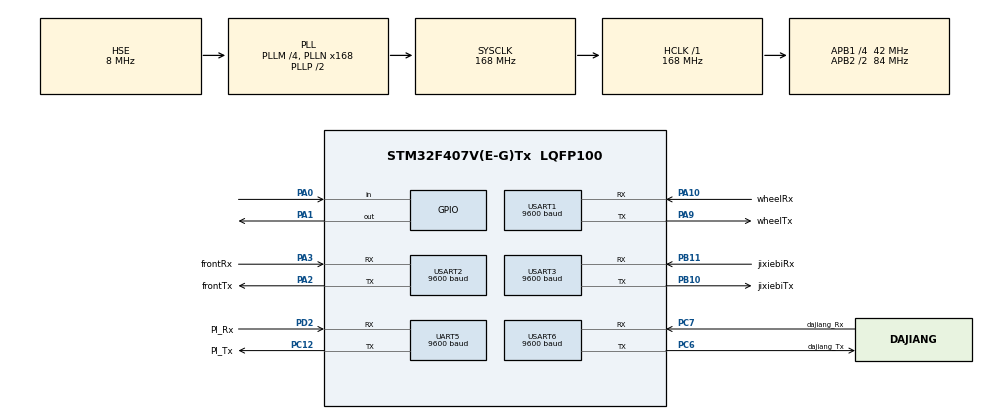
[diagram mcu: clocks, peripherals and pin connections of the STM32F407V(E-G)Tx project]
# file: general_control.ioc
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Dma.Request0=USART1_TX
Dma.Request1=USART2_TX
Dma.Request2=USART1_RX
Dma.Request3=USART2_RX
Dma.Request4=USART3_RX
Dma.Request5=USART3_TX
Dma.Request6=USART6_RX
Dma.Request7=USART6_TX
Dma.USART1_RX.2.Direction=DMA_PERIPH_TO_MEMORY
Dma.USART1_RX.2.FIFOMode=DMA_FIFOMODE_DISABLE
Dma.USART1_RX.2.Instance=DMA2_Stream2
Dma.USART1_RX.2.MemDataAlignment=DMA_MDATAALIGN_BYTE
Dma.USART1_RX.2.MemInc=DMA_MINC_ENABLE
Dma.USART1_RX.2.Mode=DMA_NORMAL
Dma.USART1_RX.2.PeriphDataAlignment=DMA_PDATAALIGN_BYTE
Dma.USART1_RX.2.PeriphInc=DMA_PINC_DISABLE
Dma.USART1_RX.2.Priority=DMA_PRIORITY_LOW
Dma.USART1_TX.0.Direction=DMA_MEMORY_TO_PERIPH
Dma.USART1_TX.0.FIFOMode=DMA_FIFOMODE_DISABLE
Dma.USART1_TX.0.Instance=DMA2_Stream7
Dma.USART1_TX.0.MemDataAlignment=DMA_MDATAALIGN_BYTE
Dma.USART1_TX.0.MemInc=DMA_MINC_ENABLE
Dma.USART1_TX.0.Mode=DMA_NORMAL
Dma.USART1_TX.0.PeriphDataAlignment=DMA_PDATAALIGN_BYTE
Dma.USART1_TX.0.PeriphInc=DMA_PINC_DISABLE
Dma.USART1_TX.0.Priority=DMA_PRIORITY_LOW
Dma.USART2_RX.3.Direction=DMA_PERIPH_TO_MEMORY
Dma.USART2_RX.3.FIFOMode=DMA_FIFOMODE_DISABLE
Dma.USART2_RX.3.Instance=DMA1_Stream5
Dma.USART2_RX.3.MemDataAlignment=DMA_MDATAALIGN_BYTE
Dma.USART2_RX.3.MemInc=DMA_MINC_ENABLE
Dma.USART2_RX.3.Mode=DMA_NORMAL
Dma.USART2_RX.3.PeriphDataAlignment=DMA_PDATAALIGN_BYTE
Dma.USART2_RX.3.PeriphInc=DMA_PINC_DISABLE
Dma.USART2_RX.3.Priority=DMA_PRIORITY_LOW
Dma.USART2_TX.1.Direction=DMA_MEMORY_TO_PERIPH
Dma.USART2_TX.1.FIFOMode=DMA_FIFOMODE_DISABLE
Dma.USART2_TX.1.Instance=DMA1_Stream6
Dma.USART2_TX.1.MemDataAlignment=DMA_MDATAALIGN_BYTE
Dma.USART2_TX.1.MemInc=DMA_MINC_ENABLE
Dma.USART2_TX.1.Mode=DMA_NORMAL
Dma.USART2_TX.1.PeriphDataAlignment=DMA_PDATAALIGN_BYTE
Dma.USART2_TX.1.PeriphInc=DMA_PINC_DISABLE
Dma.USART2_TX.1.Priority=DMA_PRIORITY_LOW
Dma.USART3_RX.4.Direction=DMA_PERIPH_TO_MEMORY
Dma.USART3_RX.4.FIFOMode=DMA_FIFOMODE_DISABLE
Dma.USART3_RX.4.Instance=DMA1_Stream1
Dma.USART3_RX.4.MemDataAlignment=DMA_MDATAALIGN_BYTE
Dma.USART3_RX.4.MemInc=DMA_MINC_ENABLE
Dma.USART3_RX.4.Mode=DMA_NORMAL
Dma.USART3_RX.4.PeriphDataAlignment=DMA_PDATAALIGN_BYTE
Dma.USART3_RX.4.PeriphInc=DMA_PINC_DISABLE
Dma.USART3_RX.4.Priority=DMA_PRIORITY_LOW
Dma.USART3_TX.5.Direction=DMA_MEMORY_TO_PERIPH
Dma.USART3_TX.5.FIFOMode=DMA_FIFOMODE_DISABLE
Dma.USART3_TX.5.Instance=DMA1_Stream3
Dma.USART3_TX.5.MemDataAlignment=DMA_MDATAALIGN_BYTE
Dma.USART3_TX.5.MemInc=DMA_MINC_ENABLE
Dma.USART3_TX.5.Mode=DMA_NORMAL
Dma.USART3_TX.5.PeriphDataAlignment=DMA_PDATAALIGN_BYTE
Dma.USART3_TX.5.PeriphInc=DMA_PINC_DISABLE
Dma.USART3_TX.5.Priority=DMA_PRIORITY_LOW
Dma.USART6_RX.6.Direction=DMA_PERIPH_TO_MEMORY
Dma.USART6_RX.6.FIFOMode=DMA_FIFOMODE_DISABLE
Dma.USART6_RX.6.Instance=DMA2_Stream1
Dma.USART6_RX.6.MemDataAlignment=DMA_MDATAALIGN_BYTE
Dma.USART6_RX.6.MemInc=DMA_MINC_ENABLE
Dma.USART6_RX.6.Mode=DMA_NORMAL
Dma.USART6_RX.6.PeriphDataAlignment=DMA_PDATAALIGN_BYTE
Dma.USART6_RX.6.PeriphInc=DMA_PINC_DISABLE
Dma.USART6_RX.6.Priority=DMA_PRIORITY_LOW
Dma.USART6_TX.7.Direction=DMA_MEMORY_TO_PERIPH
Dma.USART6_TX.7.FIFOMode=DMA_FIFOMODE_DISABLE
Dma.USART6_TX.7.Instance=DMA2_Stream6
Dma.USART6_TX.7.MemDataAlignment=DMA_MDATAALIGN_BYTE
Dma.USART6_TX.7.MemInc=DMA_MINC_ENABLE
Dma.USART6_TX.7.Mode=DMA_NORMAL
Dma.USART6_TX.7.PeriphDataAlignment=DMA_PDATAALIGN_BYTE
Dma.USART6_TX.7.PeriphInc=DMA_PINC_DISABLE
Dma.USART6_TX.7.Priority=DMA_PRIORITY_LOW
Mcu.Family=STM32F4
Mcu.Name=STM32F407V(E-G)Tx
Mcu.Package=LQFP100
NVIC.DMA1_Stream1_IRQn=true\:0\:0\:false\:false\:true\:false\:true\:true
NVIC.DMA1_Stream3_IRQn=true\:0\:0\:false\:false\:true\:false\:true\:true
NVIC.DMA1_Stream5_IRQn=true\:0\:0\:false\:false\:true\:false\:true\:true
NVIC.DMA1_Stream6_IRQn=true\:0\:0\:false\:false\:true\:false\:true\:true
NVIC.DMA2_Stream1_IRQn=true\:0\:0\:false\:false\:true\:false\:true\:true
NVIC.DMA2_Stream2_IRQn=true\:0\:0\:false\:false\:true\:false\:true\:true
NVIC.DMA2_Stream6_IRQn=true\:0\:0\:false\:false\:true\:false\:true\:true
NVIC.DMA2_Stream7_IRQn=true\:0\:0\:false\:false\:true\:false\:true\:true
NVIC.PriorityGroup=NVIC_PRIORITYGROUP_4
NVIC.USART1_IRQn=true\:0\:0\:false\:false\:true\:true\:true\:true
NVIC.USART2_IRQn=true\:0\:0\:false\:false\:true\:true\:true\:true
NVIC.USART3_IRQn=true\:0\:0\:false\:false\:true\:true\:true\:true
NVIC.USART6_IRQn=true\:0\:0\:false\:false\:true\:true\:true\:true
PA0-WKUP.GPIO_PuPd=GPIO_PULLDOWN
PA0-WKUP.Signal=GPIO_Input
PA1.GPIO_PuPd=GPIO_PULLDOWN
PA1.PinState=GPIO_PIN_SET
PA1.Signal=GPIO_Output
PA10.GPIO_Label=wheelRx
PA10.GPIO_PuPd=GPIO_PULLUP
PA10.GPIO_Speed=GPIO_SPEED_FREQ_MEDIUM
PA10.Mode=Asynchronous
PA10.Signal=USART1_RX
PA13.Mode=Serial_Wire
PA13.Signal=SYS_JTMS-SWDIO
PA14.Mode=Serial_Wire
PA14.Signal=SYS_JTCK-SWCLK
PA2.GPIO_Label=frontTx
PA2.GPIO_PuPd=GPIO_NOPULL
PA2.GPIO_Speed=GPIO_SPEED_FREQ_MEDIUM
PA2.Mode=Asynchronous
PA2.Signal=USART2_TX
PA3.GPIO_Label=frontRx
PA3.GPIO_PuPd=GPIO_PULLUP
PA3.GPIO_Speed=GPIO_SPEED_FREQ_MEDIUM
PA3.Mode=Asynchronous
PA3.Signal=USART2_RX
PA9.GPIO_Label=wheelTx
PA9.GPIO_Speed=GPIO_SPEED_FREQ_MEDIUM
PA9.Mode=Asynchronous
PA9.Signal=USART1_TX
PB10.GPIO_Label=jixiebiTx
PB10.GPIO_Speed=GPIO_SPEED_FREQ_MEDIUM
PB10.Mode=Asynchronous
PB10.Signal=USART3_TX
PB11.GPIO_Label=jixiebiRx
PB11.GPIO_PuPd=GPIO_PULLUP
PB11.GPIO_Speed=GPIO_SPEED_FREQ_MEDIUM
PB11.Mode=Asynchronous
PB11.Signal=USART3_RX
PC12.GPIO_Label=PI_Tx
PC12.Mode=Asynchronous
PC12.Signal=UART5_TX
PC6.GPIO_Label=dajiang_Tx
PC6.GPIO_PuPd=GPIO_NOPULL
PC6.GPIO_Speed=GPIO_SPEED_FREQ_MEDIUM
PC6.Mode=Asynchronous
PC6.Signal=USART6_TX
PC7.GPIO_Label=dajiang_Rx
PC7.GPIO_PuPd=GPIO_PULLUP
PC7.GPIO_Speed=GPIO_SPEED_FREQ_MEDIUM
PC7.Mode=Asynchronous
PC7.Signal=USART6_RX
PD2.GPIO_Label=PI_Rx
PD2.Mode=Asynchronous
PD2.Signal=UART5_RX
PH0-OSC_IN.Mode=HSE-External-Oscillator
PH0-OSC_IN.Signal=RCC_OSC_IN
PH1-OSC_OUT.Mode=HSE-External-Oscillator
PH1-OSC_OUT.Signal=RCC_OSC_OUT
ProjectManager.HeapSize=0x200
ProjectManager.StackSize=0x400
ProjectManager.TargetToolchain=MDK-ARM V5.32
RCC.48MHZClocksFreq_Value=84000000
RCC.AHBFreq_Value=168000000
RCC.APB1CLKDivider=RCC_HCLK_DIV4
RCC.APB1Freq_Value=42000000
RCC.APB1TimFreq_Value=84000000
RCC.APB2CLKDivider=RCC_HCLK_DIV2
RCC.APB2Freq_Value=84000000
RCC.APB2TimFreq_Value=168000000
RCC.CortexFreq_Value=168000000
RCC.HCLKFreq_Value=168000000
RCC.HSE_VALUE=8000000
RCC.HSI_VALUE=16000000
RCC.LSE_VALUE=32768
RCC.PLLM=4
RCC.PLLN=168
RCC.PLLSourceVirtual=RCC_PLLSOURCE_HSE
RCC.SYSCLKFreq_VALUE=168000000
RCC.SYSCLKSource=RCC_SYSCLKSOURCE_PLLCLK
RCC.VCOOutputFreq_Value=336000000
TIM2.Prescaler=16800-1
UART5.BaudRate=9600
UART5.StopBits=UART_STOPBITS_2
UART5.VirtualMode=Asynchronous
USART1.BaudRate=9600
USART1.StopBits=STOPBITS_2
USART1.VirtualMode=VM_ASYNC
USART2.BaudRate=9600
USART2.StopBits=STOPBITS_2
USART2.VirtualMode=VM_ASYNC
USART3.BaudRate=9600
USART3.StopBits=STOPBITS_2
USART3.VirtualMode=VM_ASYNC
USART6.BaudRate=9600
USART6.StopBits=STOPBITS_2
USART6.VirtualMode=VM_ASYNC
VP_TIM2_VS_ClockSourceINT.Mode=Internal
board=custom

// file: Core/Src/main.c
/* USER CODE BEGIN Header */
/**
  ******************************************************************************
  * @file           : main.c
  * @brief          : 自动化仓储机器人主控程序
  *                   实现机器人从货架抓取箱子并放置到指定区域的完整流程
  ******************************************************************************
  * @attention
  *
  * Copyright (c) 2025 STMicroelectronics.
  * All rights reserved.
  *
  * This software is licensed under terms that can be found in the LICENSE file
  * in the root directory of this software component.
  * If no LICENSE file comes with this software, it is provided AS-IS.
  *
  ******************************************************************************
  */
/* USER CODE END Header */
#include "main.h"
#include "dma.h"
#include "tim.h"
#include "usart.h"
#include "gpio.h"

/* USER CODE BEGIN Includes */
#include "stdlib.h"
#include "string.h"
#include "robot_config.h"
#include "robot_state.h"
#include "robot_actions.h"
#include "task_planner.h"
#include "receive_from_pi.h"  // 树莓派通信模块
/* USER CODE END Includes */

/* USER CODE BEGIN PV */

// --- 通信相关变量 ---
uint8_t receiveData[4];             // 串口接收数据缓冲区
volatile int wheel_ack = 0;         // 轮轨电机 ACK计数
volatile int jixiebi_ack = 0;       // 机械臂 ACK计数
volatile int dajiang_ack = 0;       // 水平滑台 ACK计数

// --- 系统状态变量 ---
volatile RobotPosition_t current_robot_position = ROBOT_POS_UNKNOWN; // 当前机器人位置
RobotState_t current_state = STATE_INIT;            // 当前状态机状态
TaskInfo_t task_info;                               // 当前任务信息
RecognitionResult_t recognition_data;               // 从树莓派接收的原始数据

// --- 控制变量 ---
double start_time, current_time, duration; // 时间相关变量
// 记录6个目标放置区域(a-f)的占用状态
// 数组索引0-5对应a-f区域，1表示true(已占用)，0表示false(未占用)
int is_area_occupied[6] = {0, 0, 0, 0, 0, 0};
volatile uint32_t jixiebi_next_ok = 0;  // 下次允许计数的时刻（ms）

/* USER CODE END PV */

void SystemClock_Config(void);

int main(void)
{

  /* MCU Configuration--------------------------------------------------------*/

  /* Reset of all peripherals, Initializes the Flash interface and the Systick. */
  HAL_Init();

  /* Configure the system clock */
  SystemClock_Config();

  /* Initialize all configured peripherals */
  MX_GPIO_Init();
  MX_DMA_Init();
  MX_USART1_UART_Init();
  MX_USART2_UART_Init();
  MX_USART3_UART_Init();
  MX_USART6_UART_Init();
  MX_UART5_Init();
  MX_TIM2_Init();
  /* USER CODE BEGIN 2 */

  // 刚上电等待一会儿再开启接收，防止刚上电时电平抖动喷出乱码
  HAL_Delay(DELAY_STARTUP_MS);

  // 启用各串口的错误中断和接收中断
  __HAL_UART_ENABLE_IT(&huart1, UART_IT_ERR);
  HAL_UART_Receive_IT(&huart1, &receiveData[0], 1);   // 轮轨电机

//   __HAL_UART_ENABLE_IT(&huart2, UART_IT_ERR);
//   HAL_UART_Receive_IT(&huart2,&receiveData[1],1);

  __HAL_UART_ENABLE_IT(&huart3, UART_IT_ERR);
  HAL_UART_Receive_IT(&huart3, &receiveData[2], 1);   // 机械臂

  __HAL_UART_ENABLE_IT(&huart6, UART_IT_ERR);
  HAL_UART_Receive_IT(&huart6, &receiveData[3], 1);   // 水平滑台

  // 测试数据初始化（实际使用时由树莓派提供）
//  recognition_data.shelf_positions[0] = 4;  // 货架位1放箱子4
//  recognition_data.shelf_positions[1] = 3;  // 货架位2放箱子3
//  recognition_data.shelf_positions[2] = 2;  // 货架位3放箱子2
//  recognition_data.shelf_positions[3] = 5;  // 货架位4放箱子5
//  recognition_data.shelf_positions[4] = 6;  // 货架位5放箱子6
//  recognition_data.shelf_positions[5] = 1;  // 货架位6放箱子1
//
//  recognition_data.area_positions[0] = 1;   // a区域对应箱子1
//  recognition_data.area_positions[1] = 2;   // b区域对应箱子2
//  recognition_data.area_positions[2] = 0;   // c区域无对应箱子
//  recognition_data.area_positions[3] = 4;   // d区域对应箱子4
//  recognition_data.area_positions[4] = 5;   // e区域对应箱子5
//  recognition_data.area_positions[5] = 6;   // f区域对应箱子6

//  current_state = STATE_PROCESS_TASK_DATA;

  // 初始化树莓派接收模块，告诉它使用UART5
  rpi_init_polling(&huart5);
  HAL_TIM_Base_Init(&htim2);

  // 状态指示LED初始化
  HAL_GPIO_WritePin(LED_STATUS_PORT, LED_STATUS_PIN, GPIO_PIN_SET);

  /* USER CODE END 2 */

  /* Infinite loop */
  /* USER CODE BEGIN WHILE */
  while (1)
  {
    // 检测启动按钮
    if(HAL_GPIO_ReadPin(BUTTON_START_PORT, BUTTON_START_PIN) == 1 && current_state == STATE_BEFORE_START) {
        current_state = STATE_START_ROBOT_POSE;
        HAL_GPIO_WritePin(LED_STATUS_PORT, LED_STATUS_PIN, GPIO_PIN_SET);
    }

    // 主状态机
    switch (current_state) {
        case STATE_BEFORE_START: {
            // 等待启动信号
            break;
        }

        case STATE_INIT: {
            // 初始化任务变量
            memset(&task_info, 0, sizeof(TaskInfo_t));
            wheel_ack = dajiang_ack = jixiebi_ack = 0;
            // 直接进入下一个状态
            current_state = STATE_WAIT_RPI_DATA;
            break;
        }

        case STATE_WAIT_RPI_DATA: {
            // 向树莓派请求识别数据
            rpi_dual_signal_request_and_receive_polling(
                &recognition_data,
					      "PERFECT\n", // 先发送 PERFECT 信号
                100,         // 延迟 100ms
                "REQUEST\n", // 主动发送这个信号给树莓派
                true,    // 启用修复
                7,       // 尝试7次后修复货架
                true,    // 启用超时
                90000);  // 90秒超时
            current_state = STATE_PROCESS_TASK_DATA;
            break;
        }

        case STATE_PROCESS_TASK_DATA: {
            // --- 这是核心规划逻辑 ---
            process_and_plan_task(&recognition_data, &task_info);
            current_state = STATE_BEFORE_START;
            HAL_GPIO_WritePin(LED_STATUS_PORT, LED_STATUS_PIN, GPIO_PIN_RESET);
            break;
        }

        case STATE_START_ROBOT_POSE: {
            // 发送指令，让机器人移动到货架区的初始位置
            sendCommand_MoveToStart(); // 启动
            wheel_ack = 1;
            current_state = STATE_WAIT_START_POSE_ACK;
            break;
        }

        case STATE_WAIT_START_POSE_ACK: {
            if(wheel_ack == 1) {
                wheel_ack = 0; // 重置ACK
                current_state = STATE_GET_NEXT_COLUMN;
            }
            // 此处可以添加超时逻辑
            break;
        }

        case STATE_GET_NEXT_COLUMN: {
            if (task_info.current_column_idx >= 3) { // 所有6个箱子都处理完了
                current_state = STATE_ALL_TASKS_COMPLETED;
            } else {
                current_state = STATE_MOVE_TO_SHELF_COLUMN;
            }
            break;
        }

        case STATE_MOVE_TO_SHELF_COLUMN: {
            // 确定当前要处理的箱子信息
            int is_orphan = (task_info.bottom_box_id == task_info.orphan_box_id);
            int target_id = is_orphan ? task_info.last_placed_target_id :
                           task_info.shelf_slot_to_area_idx[task_info.column_run_order[task_info.current_column_idx]+3];
            int shelf_column_id = task_info.column_run_order[task_info.current_column_idx];

            // 获取当前列的上下两个箱子ID
            task_info.bottom_box_id = recognition_data.shelf_positions[shelf_column_id + 2];
            task_info.top_box_id = recognition_data.shelf_positions[shelf_column_id - 1];

            wheel_ack = dajiang_ack = 0;

            sendCommand_MoveToShelf(shelf_column_id, target_id);
            start_clock();
            current_state = STATE_WAIT_MOVE_TO_SHELF_ACK;
            break;
        }

        case STATE_WAIT_MOVE_TO_SHELF_ACK: {
            calculateDuration();
            if ((dajiang_ack >= 1) && (wheel_ack >= 1)) {
                wheel_ack = dajiang_ack = jixiebi_ack = 0;
                current_state = STATE_EXECUTE_DOUBLE_PICK;
                current_robot_position = ROBOT_POS_SHELF;
                HAL_GPIO_WritePin(LED_STATUS_PORT, LED_STATUS_PIN, GPIO_PIN_SET);
            } else if(duration > TIMEOUT_MOVE_BETWEEN_SHELF_AND_AREA_S) {
                HAL_GPIO_WritePin(LED_STATUS_PORT, LED_STATUS_PIN, GPIO_PIN_RESET);
                current_state = STATE_MOVE_TO_SHELF_OUTOFTIME;
            }
            break;
        }

        case STATE_MOVE_TO_SHELF_OUTOFTIME: {
            // 超时处理：手动设置ACK
            dajiang_ack = 1;
            wheel_ack = 1;
            start_clock();
            current_state = STATE_WAIT_MOVE_TO_SHELF_ACK;
            break;
        }

        case STATE_EXECUTE_DOUBLE_PICK: {
            sendCommand_PickBox();
            // 根据取货动作序列，设置期望的ACK数量
            start_clock();
            current_state = STATE_WAIT_DOUBLE_PICK_ACK;
            break;
        }

        case STATE_WAIT_DOUBLE_PICK_ACK: {
            calculateDuration();
            if (jixiebi_ack >= 1) { // 检查是否收到所有ACK
                jixiebi_ack = 0;
                current_state = STATE_PLAN_TARGET_A_MOVE;
                HAL_GPIO_WritePin(LED_STATUS_PORT, LED_STATUS_PIN, GPIO_PIN_SET);
            } else if(duration >= TIMEOUT_DOUBLE_PICK_S) {
                HAL_GPIO_WritePin(LED_STATUS_PORT, LED_STATUS_PIN, GPIO_PIN_RESET);
                current_state = STATE_OUTOFTIME_DOUBLEPICK;
            }
            break;
        }

        case STATE_OUTOFTIME_DOUBLEPICK: {
            // 双取超时处理
            jixiebi_ack = 1;
            current_state = STATE_WAIT_DOUBLE_PICK_ACK;
            start_clock();
            break;
        }

        case STATE_PLAN_TARGET_A_MOVE: {
            // 规划上层箱子A的放置路径
            int is_orphan = (task_info.top_box_id == task_info.orphan_box_id);
            int target_id;

            if (is_orphan) {
                // 如果是孤儿箱子，需要寻找最佳临时放置位置
                target_id = find_best_target_for_orphan();
            } else {
                // 如果是普通箱子，直接使用其对应的目标区域
                target_id = task_info.shelf_slot_to_area_idx[task_info.column_run_order[task_info.current_column_idx]];
            }

            RobotPosition_t required_pos = (target_id == 0 || target_id == 5) ? ROBOT_POS_SIDE_AREA : ROBOT_POS_FRONT_AREA;

            if (current_robot_position != required_pos) {
                // 需要进行大的跨区域移动
                current_state = STATE_EXECUTE_MAJOR_MOVE_A;
            } else {
                current_state = STATE_PLACE_BOX_A;
            }
            break;
        }

        case STATE_EXECUTE_MAJOR_MOVE_A: { // 执行大的跨区域移动
            int is_orphan = (task_info.top_box_id == task_info.orphan_box_id);
            int target_id; // 目标区域ID

            if (is_orphan) {
                target_id = find_best_target_for_orphan();
            } else {
                target_id = task_info.shelf_slot_to_area_idx[task_info.column_run_order[task_info.current_column_idx]];
            }

            RobotPosition_t required_pos = (target_id == 0 || target_id == 5) ? ROBOT_POS_SIDE_AREA : ROBOT_POS_FRONT_AREA;

            // 执行移动函数
            wheel_ack = dajiang_ack = 0;

            sendCommand_MoveTargetToTarget(required_pos, target_id);
            HAL_UART_Transmit_DMA(&huart2, (uint8_t*)CMD_FRONT_LIFT_FOR_REGRAB, strlen(CMD_FRONT_LIFT_FOR_REGRAB));  // 前端抬升
            HAL_Delay(DELAY_MAJOR_MOVE_LIFT_MS);

            // 根据目标ID精确定位水平滑台
            if(target_id == 0) {
                HAL_UART_Transmit_DMA(&huart6, (uint8_t*)CMD_SLIDER_POS_AREA_A, strlen(CMD_SLIDER_POS_AREA_A));
            } else if(target_id == 1) {
                HAL_UART_Transmit_DMA(&huart6, (uint8_t*)CMD_SLIDER_POS_AREA_B, strlen(CMD_SLIDER_POS_AREA_B));
            } else if(target_id == 2) {
                HAL_UART_Transmit_DMA(&huart6, (uint8_t*)CMD_SLIDER_POS_AREA_C, strlen(CMD_SLIDER_POS_AREA_C));
            } else if(target_id == 3) {
                HAL_UART_Transmit_DMA(&huart6, (uint8_t*)CMD_SLIDER_POS_AREA_D, strlen(CMD_SLIDER_POS_AREA_D));
            } else if(target_id == 4) {
                HAL_UART_Transmit_DMA(&huart6, (uint8_t*)CMD_SLIDER_POS_AREA_E, strlen(CMD_SLIDER_POS_AREA_E));
            } else if(target_id == 5) {
                HAL_UART_Transmit_DMA(&huart6, (uint8_t*)CMD_SLIDER_POS_AREA_F, strlen(CMD_SLIDER_POS_AREA_F));
            }

            current_state = STATE_WAIT_MAJOR_MOVE_A_ACK;
            start_clock();
            break;
        }

        case STATE_WAIT_MAJOR_MOVE_A_ACK: {
            calculateDuration();
            if (wheel_ack >= 1 && dajiang_ack >= 1) { // 等待轮轨电机(huart1)的确认
                wheel_ack = dajiang_ack = 0;
                HAL_GPIO_WritePin(LED_STATUS_PORT, LED_STATUS_PIN, GPIO_PIN_SET);

                // 移动完成后，更新当前位置状态
                int is_orphan = (task_info.top_box_id == task_info.orphan_box_id);
                int target_id;
                if (is_orphan) {
                    target_id = find_best_target_for_orphan();
                } else {
                    target_id = task_info.shelf_slot_to_area_idx[task_info.column_run_order[task_info.current_column_idx]];
                }
                current_robot_position = (target_id == 0 || target_id == 5) ? ROBOT_POS_SIDE_AREA : ROBOT_POS_FRONT_AREA;
                current_state = STATE_PLACE_BOX_A;
            }
            else if (duration >= TIMEOUT_MOVE_BETWEEN_SHELF_AND_AREA_S) {
                current_state = STATE_MOVE_A_OUTOFTIME;
                HAL_GPIO_WritePin(LED_STATUS_PORT, LED_STATUS_PIN, GPIO_PIN_RESET);
            }
            break;
        } // 等待大的跨区域移动完成

        case STATE_MOVE_A_OUTOFTIME: {
            // A移动超时处理
            wheel_ack = 1; // 手动伪造 ACK
            dajiang_ack = 1;
            current_state = STATE_WAIT_MAJOR_MOVE_A_ACK; // 返回等待
            start_clock();
            break;
        }

        case STATE_PLACE_BOX_A: {
            int box_id_to_place = task_info.top_box_id;
            int area_idx_to_go;

            if (box_id_to_place == task_info.orphan_box_id) {
                area_idx_to_go = find_best_target_for_orphan();
            } else {
                // 对于普通箱子，直接查找它自己应该去的区域索引
                for(int i = 1; i <= 6; i++) {
                    if(task_info.shelf_to_target[i] == box_id_to_place) {
                         area_idx_to_go = task_info.shelf_slot_to_area_idx[i];
                         break;
                    }
                }
            }

            wheel_ack = dajiang_ack = jixiebi_ack = 0;

            // 执行放置函数
            sendCommand_PlaceBox(box_id_to_place, &task_info, area_idx_to_go);

            current_state = STATE_WAIT_PLACE_BOX_A_ACK;
            start_clock();
            break;
        }

        case STATE_WAIT_PLACE_BOX_A_ACK: {
            calculateDuration(); // 在开头更新计时

            int area_idx_to_go = task_info.shelf_slot_to_area_idx[task_info.column_run_order[task_info.current_column_idx]];
            if(task_info.orphan_box_id == task_info.top_box_id) {
                area_idx_to_go = find_best_target_for_orphan();
            }

            if((area_idx_to_go >= 1 && area_idx_to_go <= 4) && jixiebi_ack >= 2) {
                jixiebi_ack = 0;

                int placed_box_id = task_info.top_box_id;
                if (placed_box_id != task_info.orphan_box_id) {
                    task_info.last_placed_target_id = area_idx_to_go;
                    is_area_occupied[area_idx_to_go] = 1; // 标记区域已占用
                }
                HAL_GPIO_WritePin(LED_STATUS_PORT, LED_STATUS_PIN, GPIO_PIN_SET);
                current_state = STATE_PLAN_TARGET_B_MOVE;

            } else if((area_idx_to_go == 0 || area_idx_to_go == 5) && jixiebi_ack >= 2) {
                wheel_ack = jixiebi_ack = 0;
                int placed_box_id = task_info.top_box_id;
                if (placed_box_id != task_info.orphan_box_id) {
                    task_info.last_placed_target_id = area_idx_to_go;
                    is_area_occupied[area_idx_to_go] = 1; // 标记区域已占用
                }
                current_state = STATE_PLAN_TARGET_B_MOVE;
                HAL_GPIO_WritePin(LED_STATUS_PORT, LED_STATUS_PIN, GPIO_PIN_SET);
            }
            else if (duration >= TIMEOUT_PLACE_BOX_S) { // 如果超时
                current_state = STATE_PLACE_A_OUTOFTIME; // 跳转到新的超时处理状态
                HAL_GPIO_WritePin(LED_STATUS_PORT, LED_STATUS_PIN, GPIO_PIN_RESET);
            }
            break;
        }

        case STATE_PLACE_A_OUTOFTIME: {
            // A放置超时处理
            jixiebi_ack = 2; // 手动伪造 ACK
            current_state = STATE_WAIT_PLACE_BOX_A_ACK; // 返回等待
            start_clock();
            break;
        }

        // ----- 放置下层箱子 (B) -----
        case STATE_PLAN_TARGET_B_MOVE: {
            int is_orphan = (task_info.bottom_box_id == task_info.orphan_box_id);
            int target_id = is_orphan ? task_info.last_placed_target_id :
                           task_info.shelf_slot_to_area_idx[task_info.column_run_order[task_info.current_column_idx]+3];
            RobotPosition_t required_pos = (target_id == 0 || target_id == 5) ? ROBOT_POS_SIDE_AREA : ROBOT_POS_FRONT_AREA;
            current_state = STATE_EXECUTE_MAJOR_MOVE_B;

            // 机械臂重新抓取下层箱子
            sendCommand_ArmRegrab();

            // 水平滑台定位
            if(target_id == 0) {
                HAL_UART_Transmit_DMA(&huart6, (uint8_t*)CMD_SLIDER_POS_AREA_A, strlen(CMD_SLIDER_POS_AREA_A));
            } else if(target_id == 1) {
                HAL_UART_Transmit_DMA(&huart6, (uint8_t*)CMD_SLIDER_POS_AREA_B, strlen(CMD_SLIDER_POS_AREA_B));
            } else if(target_id == 2) {
                HAL_UART_Transmit_DMA(&huart6, (uint8_t*)CMD_SLIDER_POS_AREA_C, strlen(CMD_SLIDER_POS_AREA_C));
            } else if(target_id == 3) {
                HAL_UART_Transmit_DMA(&huart6, (uint8_t*)CMD_SLIDER_POS_AREA_D, strlen(CMD_SLIDER_POS_AREA_D));
            } else if(target_id == 4) {
                HAL_UART_Transmit_DMA(&huart6, (uint8_t*)CMD_SLIDER_POS_AREA_E, strlen(CMD_SLIDER_POS_AREA_E));
            } else if(target_id == 5) {
                HAL_UART_Transmit_DMA(&huart6, (uint8_t*)CMD_SLIDER_POS_AREA_F, strlen(CMD_SLIDER_POS_AREA_F));
            }
            break;
        }

        case STATE_EXECUTE_MAJOR_MOVE_B: {
            int is_orphan = (task_info.bottom_box_id == task_info.orphan_box_id);
            int target_id = is_orphan ? task_info.last_placed_target_id :
                           task_info.shelf_slot_to_area_idx[task_info.column_run_order[task_info.current_column_idx]+3];
            RobotPosition_t required_pos = (target_id == 0 || target_id == 5) ? ROBOT_POS_SIDE_AREA : ROBOT_POS_FRONT_AREA;

            // 执行移动函数
            wheel_ack = 0;
            sendCommand_MoveTargetToTarget(required_pos, target_id);

            current_state = STATE_WAIT_MAJOR_MOVE_B_ACK;
            start_clock();
            break;
        }

        case STATE_WAIT_MAJOR_MOVE_B_ACK: {
            calculateDuration(); // 新增
            if(wheel_ack >= 1 && dajiang_ack >= 1) {
                wheel_ack = dajiang_ack = 0;
                int is_orphan = (task_info.bottom_box_id == task_info.orphan_box_id);
                int target_id = is_orphan ? task_info.last_placed_target_id :
                               task_info.shelf_slot_to_area_idx[task_info.column_run_order[task_info.current_column_idx]+3];
                current_robot_position = (target_id == 0 || target_id == 5) ? ROBOT_POS_SIDE_AREA : ROBOT_POS_FRONT_AREA;
                current_state = STATE_PLACE_BOX_B;

                HAL_GPIO_WritePin(LED_STATUS_PORT, LED_STATUS_PIN, GPIO_PIN_SET);
                start_clock(); // STATE_PLACE_BOX_B里的jixiebi_ack超时启动
            }
            else if (duration >= TIMEOUT_MAJOR_MOVE_B_S) {
                current_state = STATE_MOVE_B_OUTOFTIME;
                HAL_GPIO_WritePin(LED_STATUS_PORT, LED_STATUS_PIN, GPIO_PIN_RESET);
            }
            break;
        }

        case STATE_MOVE_B_OUTOFTIME: {
            // B移动超时处理
            wheel_ack = 1; // 手动伪造 ACK
            dajiang_ack = 1;
            current_state = STATE_WAIT_MAJOR_MOVE_B_ACK; // 返回等待
            start_clock(); // STATE_WAIT_MAJOR_MOVE_B_ACK超时
            break;
        }

        case STATE_PLACE_BOX_B: {
            int box_id_to_place = task_info.bottom_box_id;
            int area_idx_to_go;
            int is_orphan = (task_info.bottom_box_id == task_info.orphan_box_id);
            int target_id = is_orphan ? task_info.last_placed_target_id :
                           task_info.shelf_slot_to_area_idx[task_info.column_run_order[task_info.current_column_idx]+3];

            if (box_id_to_place == task_info.orphan_box_id) {
                // 如果是孤儿箱子，我们要找到它占放的目标箱子所在的区域
                // 这需要我们反向查找一下 (或者在规划时也存储下这个映射)
                // 为了简单，我们先假设能找到
                if(task_info.last_placed_target_id == task_info.shelf_slot_to_area_idx[task_info.column_run_order[task_info.current_column_idx]]) {
                    area_idx_to_go = task_info.last_placed_target_id;
                } else if(task_info.shelf_slot_to_area_idx[task_info.column_run_order[task_info.current_column_idx]] == 0) {
                    if(recognition_data.area_positions[1] == 0) {
                        target_id = 2;
                    } else if(recognition_data.area_positions[2] == 0) {
                        target_id = 1;
                    } else {
                        target_id = 2;
                    }
                } else if(task_info.shelf_slot_to_area_idx[task_info.column_run_order[task_info.current_column_idx]] == 5) {
                    if(recognition_data.area_positions[4] == 0) {
                        target_id = 3;
                    } else if(recognition_data.area_positions[3] == 0) {
                        target_id = 4;
                    } else {
                        target_id = 3;
                    }
                }
            } else {
                // 对于普通箱子，直接查找它自己应该去的区域索引
                for(int i = 1; i <= 6; i++) {
                    if(task_info.shelf_to_target[i] == box_id_to_place) {
                         area_idx_to_go = task_info.shelf_slot_to_area_idx[i];
                         break;
                    }
                }
            }

            wheel_ack = dajiang_ack = 0;

            // 执行放置函数
            calculateDuration();
            if(jixiebi_ack >= 2) {
                jixiebi_ack = 0;
                sendCommand_PlaceBox(box_id_to_place, &task_info, area_idx_to_go);

                current_state = STATE_WAIT_PLACE_BOX_B_ACK;
                start_clock();
            } else if(duration > TIMEOUT_WAIT_FOT_ARMREGRAB_S) {
                jixiebi_ack = 2;
                start_clock();
            }
            break;
        }

    case STATE_WAIT_PLACE_BOX_B_ACK: {
        calculateDuration();
        if(jixiebi_ack >= 2) {
            wheel_ack = jixiebi_ack = 0;

            // 确定箱子B最终的放置区域ID
            int final_area_id;
            if(task_info.orphan_box_id == task_info.bottom_box_id) {
                final_area_id = task_info.last_placed_target_id;
            } else {
                final_area_id = task_info.shelf_slot_to_area_idx[task_info.column_run_order[task_info.current_column_idx]+3];
            }

            finalize_column_and_prepare_for_next(final_area_id); // 使用新函数

        } else if (duration >= TIMEOUT_PLACE_BOX_S) {
            current_state = STATE_PLACE_B_OUTOFTIME;
            HAL_GPIO_WritePin(LED_STATUS_PORT, LED_STATUS_PIN, GPIO_PIN_RESET);
        }
        break;
    }

        case STATE_PLACE_B_OUTOFTIME: {
            // B放置超时处理
            jixiebi_ack = 2; // 手动伪造 ACK
            current_state = STATE_WAIT_PLACE_BOX_B_ACK; // 返回等待
            start_clock();
            break;
        }

        case STATE_ALL_TASKS_COMPLETED: {
            // 所有任务完成，可以在这里闪灯或发送完成信息
            // 然后可以回到空闲状态或停止
            HAL_UART_Transmit_DMA(&huart1, (uint8_t*)CMD_WHEEL_END_POS, strlen(CMD_WHEEL_END_POS)); // 移动到中心线左侧停止
            HAL_UART_Transmit_DMA(&huart6, (uint8_t*)CMD_SLIDER_POS_COL_2, strlen(CMD_SLIDER_POS_COL_2));
            HAL_UART_Transmit_DMA(&huart2, (uint8_t*)CMD_FRONT_DOWN_TO_GROUND, strlen(CMD_FRONT_DOWN_TO_GROUND));
            current_state = STATE_WAIT_OFF;
            start_clock();
            break;
        }

        case STATE_WAIT_OFF: {
            calculateDuration();
            if(wheel_ack >= 1) {
                current_state = STATE_SWITCH_OFF;
            } else if(duration > TIMEOUT_MOVE_BETWEEN_SHELF_AND_AREA_S) {
                return 0;
            }
            break;
        }

        case STATE_SWITCH_OFF: {
            return 0;
        }

        case STATE_ERROR: {
            // 停止所有电机，闪烁错误LED
            while(1) {
                HAL_GPIO_TogglePin(LED_STATUS_PORT, LED_STATUS_PIN);
                HAL_Delay(DELAY_ERROR_LED_BLINK_MS);
            }
            break;
        }
    }

    /* USER CODE END WHILE */

  }
}

void SystemClock_Config(void)
{
  RCC_OscInitTypeDef RCC_OscInitStruct = {0};
  RCC_ClkInitTypeDef RCC_ClkInitStruct = {0};

  /** Configure the main internal regulator output voltage
  */
  __HAL_RCC_PWR_CLK_ENABLE();
  __HAL_PWR_VOLTAGESCALING_CONFIG(PWR_REGULATOR_VOLTAGE_SCALE1);

  /** Initializes the RCC Oscillators according to the specified parameters
  * in the RCC_OscInitTypeDef structure.
  */
  RCC_OscInitStruct.OscillatorType = RCC_OSCILLATORTYPE_HSE;
  RCC_OscInitStruct.HSEState = RCC_HSE_ON;
  RCC_OscInitStruct.PLL.PLLState = RCC_PLL_ON;
  RCC_OscInitStruct.PLL.PLLSource = RCC_PLLSOURCE_HSE;
  RCC_OscInitStruct.PLL.PLLM = 4;
  RCC_OscInitStruct.PLL.PLLN = 168;
  RCC_OscInitStruct.PLL.PLLP = RCC_PLLP_DIV2;
  RCC_OscInitStruct.PLL.PLLQ = 4;
  if (HAL_RCC_OscConfig(&RCC_OscInitStruct) != HAL_OK)
  {
    Error_Handler();
  }

  /** Initializes the CPU, AHB and APB buses clocks
  */
  RCC_ClkInitStruct.ClockType = RCC_CLOCKTYPE_HCLK|RCC_CLOCKTYPE_SYSCLK
                              |RCC_CLOCKTYPE_PCLK1|RCC_CLOCKTYPE_PCLK2;
  RCC_ClkInitStruct.SYSCLKSource = RCC_SYSCLKSOURCE_PLLCLK;
  RCC_ClkInitStruct.AHBCLKDivider = RCC_SYSCLK_DIV1;
  RCC_ClkInitStruct.APB1CLKDivider = RCC_HCLK_DIV4;
  RCC_ClkInitStruct.APB2CLKDivider = RCC_HCLK_DIV2;

  if (HAL_RCC_ClockConfig(&RCC_ClkInitStruct, FLASH_LATENCY_5) != HAL_OK)
  {
    Error_Handler();
  }
}

/* USER CODE BEGIN 4 */

/**
 * @brief  串口接收完成中断回调函数
 * @param  huart: 串口句柄指针
 */
void HAL_UART_RxCpltCallback(UART_HandleTypeDef *huart){
    uint32_t now = HAL_GetTick();

    if(huart->Instance == USART1) {
        // 轮轨电机确认
        wheel_ack++;
        HAL_UART_Receive_IT(&huart1, &receiveData[0], 1);
    }

    if (huart->Instance == USART3) {  // 机械臂
        // 仅在"到点"时计数，并在这里重置下一窗口
        if ((int32_t)(now - jixiebi_next_ok) >= 0) {
            jixiebi_ack++;                              // 不做上限限制
            jixiebi_next_ok = now + JIXIEBI_COOLDOWN_MS; // 这里重置时间戳
        }
        HAL_UART_Receive_IT(&huart3, &receiveData[2], 1); // 立刻重启接收
        return;
    }

    if(huart->Instance == USART6) {
        // 水平滑台确认
        dajiang_ack++;
        HAL_UART_Receive_IT(&huart6, &receiveData[3], 1);
    }
}

/**
 * @brief  串口错误回调函数
 * @param  huart: 串口句柄指针
 */
void HAL_UART_ErrorCallback(UART_HandleTypeDef *huart) {
    // 清除所有常见错误标志
    __HAL_UART_CLEAR_PEFLAG(huart);
    __HAL_UART_CLEAR_FEFLAG(huart);
    __HAL_UART_CLEAR_NEFLAG(huart);
    __HAL_UART_CLEAR_OREFLAG(huart);

    // 重启该口的"1字节接收"
    if (huart->Instance == USART1) {
        HAL_UART_Receive_IT(&huart1, &receiveData[0], 1);
    } else if (huart->Instance == USART3) {
        HAL_UART_Receive_IT(&huart3, &receiveData[2], 1);
    } else if (huart->Instance == USART6) {
        HAL_UART_Receive_IT(&huart6, &receiveData[3], 1);
    }
}

/* USER CODE END 4 */

void Error_Handler(void)
{
  __disable_irq();
  while (1)
  {
  }
}
